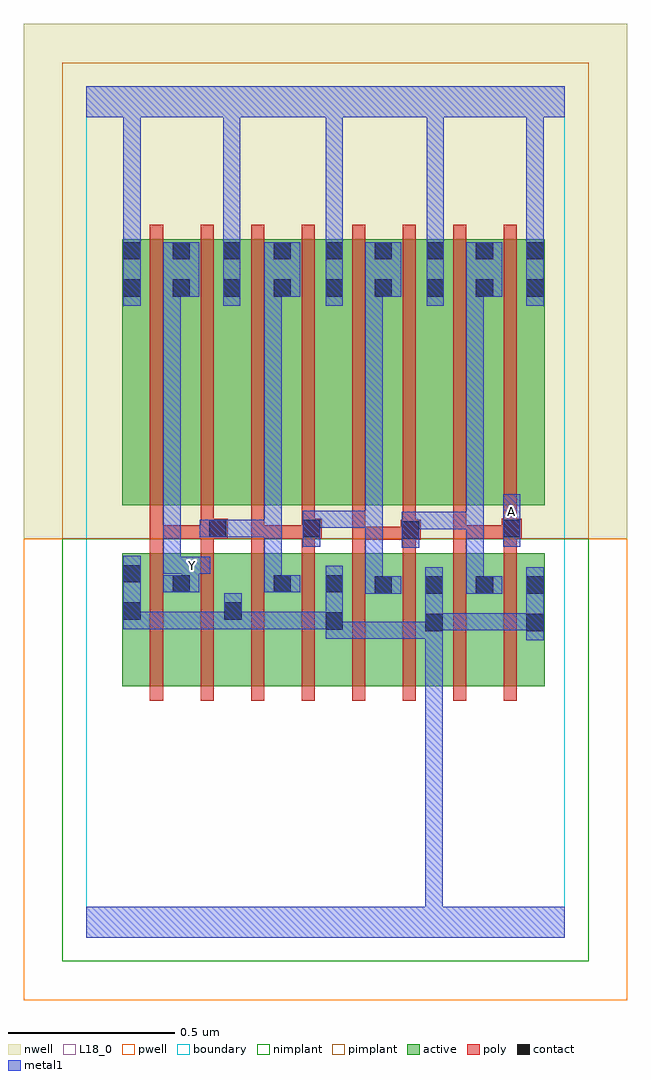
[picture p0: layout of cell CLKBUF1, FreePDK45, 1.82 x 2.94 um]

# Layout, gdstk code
import gdstk
lib = gdstk.Library(unit=1e-6, precision=1e-09)
def R(c, l, rs):  # rectangles x0, y0, x1, y1
    for r in rs: c.add(gdstk.rectangle(r[:2], r[2:], *l))
def A(c, l, x, y, w, h, nx, ny, dx, dy):  # array of equal rectangles
    R(c, l, [(x+i*dx, y+j*dy, x+i*dx+w, y+j*dy+h) for i in range(nx) for j in range(ny)])
active = (1, 0)
pwell = (2, 0)
nwell = (3, 0)
nimplant = (4, 0)
pimplant = (5, 0)
poly = (9, 0)
contact = (10, 0)
metal1 = (11, 0)
L18_0 = (18, 0)
boundary = (235, 0)

clkbuf1 = lib.new_cell('CLKBUF1')
A(clkbuf1, active, 0.108, 0.756, 0.208, 0.4, 3, 1, 0.304, 0)
A(clkbuf1, active, 0.864, 0.756, 0.212, 0.4, 3, 1, 0.152, 0)
A(clkbuf1, active, 0.864, 0.756, 0.06, 0.334, 3, 1, 0.152, 0)
A(clkbuf1, active, 0.256, 1.3, 0.06, 0.8, 3, 1, 0.152, 0)
R(clkbuf1, active, [(0.108,0.756,0.168,1.156), (0.256,0.756,0.316,1.094), (0.256,0.756,0.472,1.156), (0.412,0.756,0.472,1.156), (0.56,0.756,0.62,1.094), (0.56,0.756,0.776,1.156), (0.716,0.756,0.776,1.094), (1.32,0.756,1.38,1.156), (0.108,1.3,0.168,2.1), (0.108,1.3,0.316,2.1), (0.256,1.3,0.468,2.1), (0.408,1.3,0.62,2.1), (0.56,1.3,0.776,2.1), (0.716,1.3,0.776,2.1), (0.716,1.3,0.924,2.1), (0.864,1.3,0.924,2.1), (0.864,1.3,1.08,2.1), (1.02,1.3,1.08,2.1), (1.02,1.3,1.228,2.1), (1.168,1.3,1.228,2.1), (1.168,1.3,1.38,2.1), (1.32,1.3,1.38,2.1)])
R(clkbuf1, pwell, [(-0.188,-0.188,1.628,1.2)])
R(clkbuf1, nwell, [(-0.188,1.2,1.628,2.748)])
R(clkbuf1, nimplant, [(-0.072,-0.072,1.512,1.2)])
R(clkbuf1, pimplant, [(-0.072,1.2,1.512,2.632)])
A(clkbuf1, poly, 0.192, 0.712, 0.04, 0.488, 8, 1, 0.152, 0)
A(clkbuf1, poly, 0.192, 1.16, 0.04, 0.08, 4, 1, 0.152, 0)
A(clkbuf1, poly, 0.192, 1.256, 0.04, 0.888, 8, 1, 0.152, 0)
R(clkbuf1, poly, [(0.8,1.16,0.84,1.236), (0.952,1.16,0.992,1.236), (1.104,1.16,1.144,1.24), (1.256,1.16,1.296,1.24), (0.8,1.196,0.84,1.236), (0.8,1.196,0.84,1.236), (0.8,1.196,0.84,1.236), (0.8,1.196,0.84,1.236), (0.8,1.196,0.84,1.236), (0.8,1.196,0.986,1.236), (0.8,1.196,0.84,1.296), (0.946,1.196,1.006,1.256), (0.192,1.2,0.232,1.24), (0.192,1.2,0.232,1.24), (0.192,1.2,0.232,1.24), (0.192,1.2,0.384,1.24), (0.192,1.2,0.232,1.296), (0.344,1.2,0.384,1.24), (0.344,1.2,0.384,1.24), (0.344,1.2,0.384,1.24), (0.344,1.2,0.384,1.24), (0.344,1.2,0.426,1.26), (0.496,1.2,0.536,1.24), (0.496,1.2,0.536,1.24), (0.496,1.2,0.536,1.24), (0.496,1.2,0.536,1.24), (0.496,1.2,0.536,1.24), (0.496,1.2,0.688,1.24), (0.496,1.2,0.536,1.296), (0.648,1.2,0.688,1.24), (0.648,1.2,0.688,1.24), (0.648,1.2,0.708,1.26), (1.104,1.2,1.144,1.24), (1.104,1.2,1.144,1.24), (1.104,1.2,1.144,1.24), (1.104,1.2,1.296,1.24), (1.104,1.2,1.144,1.296), (1.25,1.2,1.31,1.26), (1.256,1.2,1.296,1.24), (1.256,1.2,1.296,1.24), (1.256,1.2,1.296,1.24), (1.256,1.2,1.296,1.24), (0.952,1.216,0.992,1.256), (0.952,1.216,0.992,1.256), (0.952,1.216,0.992,1.296), (0.344,1.22,0.384,1.296), (0.648,1.22,0.688,1.296), (1.256,1.22,1.296,1.296)])
A(clkbuf1, contact, 0.868, 1.034, 0.052, 0.052, 4, 1, 0.152, 0)
A(clkbuf1, contact, 0.26, 1.928, 0.052, 0.052, 3, 2, 0.152, 0.112)
R(clkbuf1, contact, [(1.02,0.922,1.072,0.974), (1.324,0.922,1.376,0.974), (0.72,0.926,0.772,0.978), (0.112,0.956,0.164,1.008), (0.416,0.956,0.468,1.008), (0.26,1.038,0.312,1.09), (0.564,1.038,0.616,1.09), (0.72,1.038,0.772,1.09), (0.112,1.068,0.164,1.12), (0.95,1.2,1.002,1.252), (0.37,1.204,0.422,1.256), (0.652,1.204,0.704,1.256), (1.254,1.204,1.306,1.256), (0.112,1.928,0.164,1.98), (0.72,1.928,0.772,1.98), (0.868,1.928,0.92,1.98), (1.024,1.928,1.076,1.98), (1.172,1.928,1.224,1.98), (1.324,1.928,1.376,1.98), (0.112,2.04,0.164,2.092), (0.72,2.04,0.772,2.092), (0.868,2.04,0.92,2.092), (1.024,2.04,1.076,2.092), (1.172,2.04,1.224,2.092), (1.324,2.04,1.376,2.092)])
A(clkbuf1, metal1, 0.232, 1.928, 0.108, 0.164, 4, 1, 0.304, 0)
R(clkbuf1, metal1, [(0,0,1.44,0.092), (1.02,0.04,1.072,0.092), (1.02,0.04,1.072,0.092), (1.02,0.04,1.072,0.092), (1.02,0.04,1.072,0.092), (1.02,0.04,1.072,0.092), (1.02,0.04,1.072,0.092), (1.02,0.04,1.072,0.092), (1.02,0.04,1.072,0.092), (1.02,0.04,1.072,0.092), (1.02,0.04,1.072,0.092), (1.02,0.04,1.072,0.092), (1.02,0.04,1.072,0.092), (1.02,0.04,1.072,0.946), (1.02,0.894,1.072,1.114), (1.324,0.894,1.376,1.114), (0.72,0.898,0.772,1.118), (0.72,0.898,0.882,0.95), (0.83,0.898,0.882,0.95), (0.83,0.898,0.882,0.95), (0.83,0.898,0.882,0.95), (0.83,0.898,1.072,0.95), (1.02,0.898,1.072,0.95), (1.02,0.898,1.072,0.95), (1.02,0.924,1.196,0.976), (1.144,0.924,1.196,0.976), (1.144,0.924,1.196,0.976), (1.144,0.924,1.196,0.976), (1.144,0.924,1.376,0.976), (1.324,0.924,1.376,0.976), (1.324,0.924,1.376,0.976), (0.112,0.928,0.164,1.148), (0.112,0.928,0.274,0.98), (0.222,0.928,0.274,0.98), (0.222,0.928,0.274,0.98), (0.222,0.928,0.274,0.98), (0.222,0.928,0.468,0.98), (0.416,0.928,0.468,0.98), (0.416,0.928,0.468,0.98), (0.416,0.928,0.468,1.036), (0.416,0.928,0.578,0.98), (0.526,0.928,0.578,0.98), (0.526,0.928,0.578,0.98), (0.526,0.928,0.578,0.98), (0.526,0.928,0.772,0.98), (0.72,0.928,0.772,0.98), (0.72,0.928,0.772,0.98), (0.84,1.034,0.948,1.086), (0.84,1.034,0.892,1.284), (1.144,1.034,1.196,1.28), (1.144,1.034,1.252,1.086), (0.232,1.038,0.34,1.09), (0.288,1.038,0.34,1.146), (0.536,1.038,0.644,1.09), (0.536,1.038,0.588,1.256), (0.232,1.094,0.284,1.98), (0.232,1.094,0.374,1.146), (0.95,1.172,1.002,1.28), (0.652,1.176,0.704,1.284), (1.254,1.176,1.306,1.334), (0.342,1.204,0.45,1.256), (0.398,1.204,0.45,1.256), (0.398,1.204,0.45,1.256), (0.398,1.204,0.588,1.256), (0.536,1.204,0.588,1.256), (0.536,1.204,0.588,1.256), (0.536,1.204,0.588,1.256), (0.536,1.204,0.588,1.256), (0.536,1.204,0.588,1.256), (0.536,1.204,0.588,1.98), (0.95,1.228,1.002,1.28), (0.95,1.228,1.002,1.28), (0.95,1.228,1.196,1.28), (1.144,1.228,1.196,1.28), (1.144,1.228,1.196,1.28), (1.144,1.228,1.196,1.28), (1.144,1.228,1.196,1.98), (0.652,1.232,0.704,1.284), (0.652,1.232,0.704,1.284), (0.652,1.232,0.892,1.284), (0.84,1.232,0.892,1.284), (0.84,1.232,0.892,1.284), (0.84,1.232,0.892,1.284), (0.84,1.232,0.892,1.284), (0.84,1.232,0.892,1.284), (0.84,1.232,0.892,1.98), (0.112,1.9,0.164,2.12), (0.412,1.9,0.464,2.12), (0.72,1.9,0.772,2.12), (1.024,1.9,1.076,2.12), (1.324,1.9,1.376,2.12), (0.232,1.928,0.284,1.98), (0.232,1.928,0.284,1.98), (1.144,1.928,1.196,1.98), (1.144,1.928,1.196,1.98), (0.112,2.068,0.164,2.202), (0.412,2.068,0.464,2.52), (0.72,2.068,0.772,2.52), (1.024,2.068,1.076,2.12), (1.024,2.068,1.076,2.12), (1.024,2.068,1.076,2.12), (1.024,2.068,1.076,2.12), (1.024,2.068,1.076,2.52), (1.324,2.068,1.376,2.52), (0.112,2.15,0.164,2.202), (0.112,2.15,0.164,2.202), (0.112,2.15,0.164,2.202), (0.112,2.15,0.164,2.202), (0.112,2.15,0.164,2.202), (0.112,2.15,0.164,2.52), (0,2.468,1.44,2.56), (0.112,2.468,0.164,2.52), (0.112,2.468,0.164,2.52), (0.412,2.468,0.464,2.52), (0.412,2.468,0.464,2.52), (0.412,2.468,0.464,2.52), (0.412,2.468,0.464,2.52), (0.412,2.468,0.464,2.52), (0.412,2.468,0.464,2.52), (0.412,2.468,0.464,2.52), (0.412,2.468,0.464,2.52), (0.72,2.468,0.772,2.52), (0.72,2.468,0.772,2.52), (0.72,2.468,0.772,2.52), (0.72,2.468,0.772,2.52), (0.72,2.468,0.772,2.52), (0.72,2.468,0.772,2.52), (0.72,2.468,0.772,2.52), (0.72,2.468,0.772,2.52), (1.024,2.468,1.076,2.52), (1.024,2.468,1.076,2.52), (1.024,2.468,1.076,2.52), (1.024,2.468,1.076,2.52), (1.324,2.468,1.376,2.52), (1.324,2.468,1.376,2.52), (1.324,2.468,1.376,2.52), (1.324,2.468,1.376,2.52), (1.324,2.468,1.376,2.52), (1.324,2.468,1.376,2.52), (1.324,2.468,1.376,2.52), (1.324,2.468,1.376,2.52)])
R(clkbuf1, L18_0, [(0,0,1.44,0.092), (1.02,0.04,1.072,0.092), (1.02,0.04,1.072,0.092), (1.02,0.04,1.072,0.092), (1.02,0.04,1.072,0.092), (1.02,0.04,1.072,0.092), (1.02,0.04,1.072,0.092), (1.02,0.04,1.072,0.092), (1.02,0.04,1.072,0.092), (1.02,0.04,1.072,0.092), (1.02,0.04,1.072,0.092), (1.02,0.04,1.072,0.092), (1.02,0.04,1.072,0.092), (1.02,0.04,1.072,0.946), (1.02,0.894,1.072,1.114), (1.324,0.894,1.376,1.114), (0.72,0.898,0.772,1.118), (0.72,0.898,0.882,0.95), (0.83,0.898,0.882,0.95), (0.83,0.898,0.882,0.95), (0.83,0.898,0.882,0.95), (0.83,0.898,1.072,0.95), (1.02,0.898,1.072,0.95), (1.02,0.898,1.072,0.95), (1.02,0.924,1.196,0.976), (1.144,0.924,1.196,0.976), (1.144,0.924,1.196,0.976), (1.144,0.924,1.196,0.976), (1.144,0.924,1.376,0.976), (1.324,0.924,1.376,0.976), (1.324,0.924,1.376,0.976), (0.112,0.928,0.164,1.148), (0.112,0.928,0.274,0.98), (0.222,0.928,0.274,0.98), (0.222,0.928,0.274,0.98), (0.222,0.928,0.274,0.98), (0.222,0.928,0.468,0.98), (0.416,0.928,0.468,0.98), (0.416,0.928,0.468,0.98), (0.416,0.928,0.578,0.98), (0.416,0.928,0.468,1.036), (0.526,0.928,0.578,0.98), (0.526,0.928,0.578,0.98), (0.526,0.928,0.578,0.98), (0.526,0.928,0.772,0.98), (0.72,0.928,0.772,0.98), (0.72,0.928,0.772,0.98), (0.232,1.038,0.34,1.09), (0.288,1.038,0.34,1.146), (0.232,1.094,0.374,1.146), (0.232,1.094,0.284,1.98), (0.294,1.094,0.346,1.146), (1.254,1.176,1.306,1.334), (1.254,1.254,1.306,1.306), (0.112,1.9,0.164,2.12), (0.412,1.9,0.464,2.12), (0.72,1.9,0.772,2.12), (1.024,1.9,1.076,2.12), (1.324,1.9,1.376,2.12), (0.232,1.928,0.284,1.98), (0.232,1.928,0.284,1.98), (0.232,1.928,0.34,2.092), (0.112,2.068,0.164,2.202), (0.412,2.068,0.464,2.52), (0.72,2.068,0.772,2.52), (1.024,2.068,1.076,2.12), (1.024,2.068,1.076,2.12), (1.024,2.068,1.076,2.12), (1.024,2.068,1.076,2.12), (1.024,2.068,1.076,2.52), (1.324,2.068,1.376,2.52), (0.112,2.15,0.164,2.202), (0.112,2.15,0.164,2.202), (0.112,2.15,0.164,2.202), (0.112,2.15,0.164,2.202), (0.112,2.15,0.164,2.202), (0.112,2.15,0.164,2.52), (0,2.468,1.44,2.56), (0.112,2.468,0.164,2.52), (0.112,2.468,0.164,2.52), (0.412,2.468,0.464,2.52), (0.412,2.468,0.464,2.52), (0.412,2.468,0.464,2.52), (0.412,2.468,0.464,2.52), (0.412,2.468,0.464,2.52), (0.412,2.468,0.464,2.52), (0.412,2.468,0.464,2.52), (0.412,2.468,0.464,2.52), (0.72,2.468,0.772,2.52), (0.72,2.468,0.772,2.52), (0.72,2.468,0.772,2.52), (0.72,2.468,0.772,2.52), (0.72,2.468,0.772,2.52), (0.72,2.468,0.772,2.52), (0.72,2.468,0.772,2.52), (0.72,2.468,0.772,2.52), (1.024,2.468,1.076,2.52), (1.024,2.468,1.076,2.52), (1.024,2.468,1.076,2.52), (1.024,2.468,1.076,2.52), (1.324,2.468,1.376,2.52), (1.324,2.468,1.376,2.52), (1.324,2.468,1.376,2.52), (1.324,2.468,1.376,2.52), (1.324,2.468,1.376,2.52), (1.324,2.468,1.376,2.52), (1.324,2.468,1.376,2.52), (1.324,2.468,1.376,2.52)])
R(clkbuf1, boundary, [(0,0,1.44,2.56)])
clkbuf1.add(gdstk.Label('A', (1.28,1.28), layer=11, texttype=0))
clkbuf1.add(gdstk.Label('Y', (0.32,1.12), layer=11, texttype=0))

lib.write_gds('CLKBUF1.gds')
